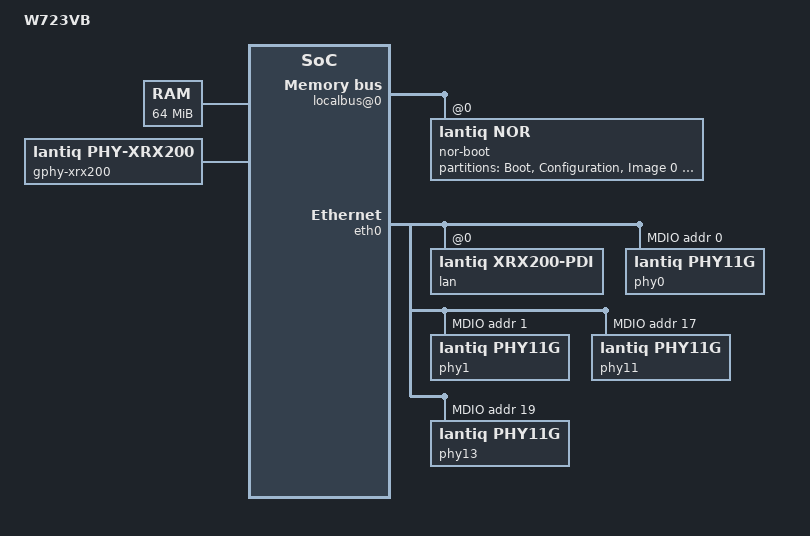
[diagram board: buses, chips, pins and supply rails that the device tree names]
/dts-v1/;

#include "vr9.dtsi"

/ {
	model = "W723VB";

	chosen {
		bootargs = "console=ttyLTQ0,115200 init=/etc/preinit";

	};

	memory@0 {
		reg = <0x0 0x4000000>;
	};

	fpi@10000000 {
		localbus@0 {
			nor-boot@0 {
				compatible = "lantiq,nor";
				bank-width = <2>;
				reg = <0 0x0 0x1000000>;

				partitions {
					compatible = "fixed-partitions";
					partition@0 {
						label = "Boot";
						reg = <0x00000 0x30000>;
						read-only;
					};

					partition@20000 {
						label = "Configuration";
						reg = <0x30000 0x40000>;
						read-only;
					};

					partition@70000 {
						label = "Image 0";
						reg = <0x70000 0x3c0000>;
					};
					
					partition@430000 {
						label = "Image 1";
						reg = <0x430000 0x3c0000>;
					};

					partition@7F0000 {
						label = "Boot Params";
						reg = <0x7F0000 0x10000>;
						read-only;
					};
				};
			};
		};


		ifxhcd@E101000 {
			status = "okay";
			lantiq,portmask = <0x3>;
		};

		ifxhcd@E106000 {
			status = "okay";
		};
	};

	gphy-xrx200 {
		compatible = "lantiq,phy-xrx200";
		firmware = "lantiq/vr9_phy11g_a2x.bin";
		phys = [ 00 01 ];
	};
};

&eth0 {
	lan: interface@0 {
		compatible = "lantiq,xrx200-pdi";
		#address-cells = <1>;
		#size-cells = <0>;
		reg = <0>;
		mac-address = [ 00 11 22 33 44 55 ];
		lantiq,switch;

		ethernet@0 {
			compatible = "lantiq,xrx200-pdi-port";
			reg = <0>;
			phy-mode = "rmii";
			phy-handle = <&phy0>;
			// gpios = <&gpio 37 1>;
		};
		ethernet@1 {
			compatible = "lantiq,xrx200-pdi-port";
			reg = <1>;
			phy-mode = "rmii";
			phy-handle = <&phy1>;
			// gpios = <&gpio 44 1>;
		};
		ethernet@2 {
			compatible = "lantiq,xrx200-pdi-port";
			reg = <2>;
			phy-mode = "gmii";
			phy-handle = <&phy11>;
		};
		ethernet@3 {
			compatible = "lantiq,xrx200-pdi-port";
			reg = <4>;
			phy-mode = "gmii";
			phy-handle = <&phy13>;
		};
	};

	mdio@0 {
		#address-cells = <1>;
		#size-cells = <0>;
		compatible = "lantiq,xrx200-mdio";
		phy0: ethernet-phy@0 {
			reg = <0x00>;
			compatible = "lantiq,phy11g", "ethernet-phy-ieee802.3-c22";
		};
		phy1: ethernet-phy@1 {
			reg = <0x01>;
			compatible = "lantiq,phy11g", "ethernet-phy-ieee802.3-c22";
		};
		phy11: ethernet-phy@11 {
			reg = <0x11>;
			compatible = "lantiq,phy11g", "ethernet-phy-ieee802.3-c22";
		};
		phy13: ethernet-phy@13 {
			reg = <0x13>;
			compatible = "lantiq,phy11g", "ethernet-phy-ieee802.3-c22";
		};
	};
};
